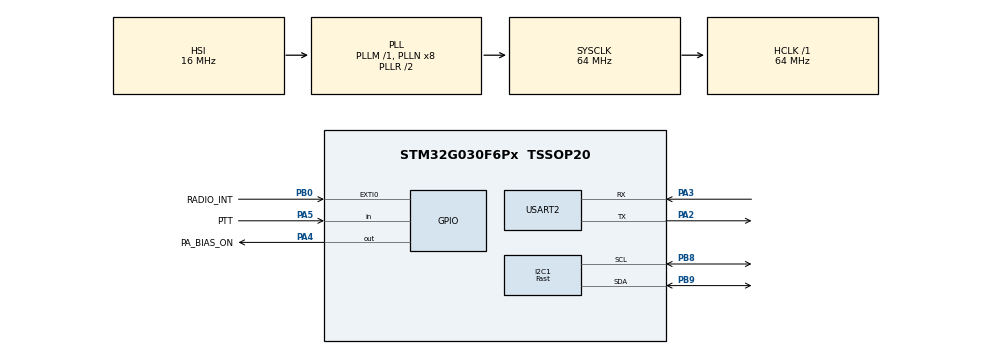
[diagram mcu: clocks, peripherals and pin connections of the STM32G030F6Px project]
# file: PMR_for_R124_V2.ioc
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Dma.I2C1_RX.1.Direction=DMA_PERIPH_TO_MEMORY
Dma.I2C1_RX.1.EventEnable=DISABLE
Dma.I2C1_RX.1.Instance=DMA1_Channel2
Dma.I2C1_RX.1.MemDataAlignment=DMA_MDATAALIGN_BYTE
Dma.I2C1_RX.1.MemInc=DMA_MINC_ENABLE
Dma.I2C1_RX.1.Mode=DMA_NORMAL
Dma.I2C1_RX.1.PeriphDataAlignment=DMA_PDATAALIGN_BYTE
Dma.I2C1_RX.1.PeriphInc=DMA_PINC_DISABLE
Dma.I2C1_RX.1.Polarity=HAL_DMAMUX_REQ_GEN_RISING
Dma.I2C1_RX.1.Priority=DMA_PRIORITY_LOW
Dma.I2C1_RX.1.RequestNumber=1
Dma.I2C1_RX.1.SignalID=NONE
Dma.I2C1_RX.1.SyncEnable=DISABLE
Dma.I2C1_RX.1.SyncPolarity=HAL_DMAMUX_SYNC_NO_EVENT
Dma.I2C1_RX.1.SyncRequestNumber=1
Dma.I2C1_RX.1.SyncSignalID=NONE
Dma.I2C1_TX.0.Direction=DMA_MEMORY_TO_PERIPH
Dma.I2C1_TX.0.EventEnable=DISABLE
Dma.I2C1_TX.0.Instance=DMA1_Channel1
Dma.I2C1_TX.0.MemDataAlignment=DMA_MDATAALIGN_BYTE
Dma.I2C1_TX.0.MemInc=DMA_MINC_ENABLE
Dma.I2C1_TX.0.Mode=DMA_NORMAL
Dma.I2C1_TX.0.PeriphDataAlignment=DMA_PDATAALIGN_BYTE
Dma.I2C1_TX.0.PeriphInc=DMA_PINC_DISABLE
Dma.I2C1_TX.0.Polarity=HAL_DMAMUX_REQ_GEN_RISING
Dma.I2C1_TX.0.Priority=DMA_PRIORITY_LOW
Dma.I2C1_TX.0.RequestNumber=1
Dma.I2C1_TX.0.SignalID=NONE
Dma.I2C1_TX.0.SyncEnable=DISABLE
Dma.I2C1_TX.0.SyncPolarity=HAL_DMAMUX_SYNC_NO_EVENT
Dma.I2C1_TX.0.SyncRequestNumber=1
Dma.I2C1_TX.0.SyncSignalID=NONE
Dma.Request0=I2C1_TX
Dma.Request1=I2C1_RX
Dma.Request2=USART2_TX
Dma.USART2_TX.2.Direction=DMA_MEMORY_TO_PERIPH
Dma.USART2_TX.2.EventEnable=DISABLE
Dma.USART2_TX.2.Instance=DMA1_Channel3
Dma.USART2_TX.2.MemDataAlignment=DMA_MDATAALIGN_BYTE
Dma.USART2_TX.2.MemInc=DMA_MINC_ENABLE
Dma.USART2_TX.2.Mode=DMA_NORMAL
Dma.USART2_TX.2.PeriphDataAlignment=DMA_PDATAALIGN_BYTE
Dma.USART2_TX.2.PeriphInc=DMA_PINC_DISABLE
Dma.USART2_TX.2.Polarity=HAL_DMAMUX_REQ_GEN_RISING
Dma.USART2_TX.2.Priority=DMA_PRIORITY_LOW
Dma.USART2_TX.2.RequestNumber=1
Dma.USART2_TX.2.SignalID=NONE
Dma.USART2_TX.2.SyncEnable=DISABLE
Dma.USART2_TX.2.SyncPolarity=HAL_DMAMUX_SYNC_NO_EVENT
Dma.USART2_TX.2.SyncRequestNumber=1
Dma.USART2_TX.2.SyncSignalID=NONE
I2C1.I2C_Speed_Mode=I2C_Fast
I2C1.Timing=0x00C12166
Mcu.Family=STM32G0
Mcu.Name=STM32G030F6Px
Mcu.Package=TSSOP20
NVIC.DMA1_Channel1_IRQn=true\:0\:0\:false\:false\:true\:false\:true\:true
NVIC.DMA1_Channel2_3_IRQn=true\:0\:0\:false\:false\:true\:false\:true\:true
NVIC.EXTI0_1_IRQn=true\:0\:0\:false\:false\:true\:true\:true\:true
NVIC.I2C1_IRQn=true\:0\:0\:false\:false\:true\:true\:true\:true
NVIC.USART2_IRQn=true\:0\:0\:false\:false\:true\:false\:true\:true
PA13.Mode=Serial_Wire
PA13.Signal=SYS_SWDIO
PA14-BOOT0.Mode=Serial_Wire
PA14-BOOT0.Signal=SYS_SWCLK
PA14-BOOT0__PA15.StandardMode=true
PA2.Mode=Asynchronous
PA2.Signal=USART2_TX
PA3.Mode=Asynchronous
PA3.Signal=USART2_RX
PA4.GPIO_Label=PA_BIAS_ON
PA4.Signal=GPIO_Output
PA5.GPIO_Label=PTT
PA5.Signal=GPIO_Input
PB0.GPIO_Label=RADIO_INT
PB0.Signal=GPXTI0
PB0__PB1__PB2__PA8.StandardMode=true
PB3__PB4__PB5__PB6.StandardMode=true
PB7__PB8.StandardMode=true
PB8.Mode=I2C
PB8.Signal=I2C1_SCL
PB9.Mode=I2C
PB9.Signal=I2C1_SDA
PC14-OSC32_IN\ (PC14)__PB9.StandardMode=true
ProjectManager.HeapSize=0x200
ProjectManager.StackSize=0x400
ProjectManager.TargetToolchain=STM32CubeIDE
RCC.ADCFreq_Value=64000000
RCC.AHBFreq_Value=64000000
RCC.CortexFreq_Value=64000000
RCC.EXTERNAL_CLOCK_VALUE=12288000
RCC.HCLKFreq_Value=64000000
RCC.HSE_VALUE=8000000
RCC.HSI_VALUE=16000000
RCC.LSE_VALUE=32768
RCC.SYSCLKFreq_VALUE=64000000
RCC.SYSCLKSource=RCC_SYSCLKSOURCE_PLLCLK
RCC.VCOOutputFreq_Value=128000000
USART2.VirtualMode-Asynchronous=VM_ASYNC
board=custom

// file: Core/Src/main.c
/* USER CODE BEGIN Header */
/**
  ******************************************************************************
  * @file           : main.c
  * @brief          : Main program body
  ******************************************************************************
  */
/* USER CODE END Header */
#include "main.h"

/* USER CODE BEGIN Includes */
#include "rda1846.h"
#include <stdio.h>
#include <string.h>
/* USER CODE END Includes */

I2C_HandleTypeDef hi2c1;
DMA_HandleTypeDef hdma_i2c1_tx;
DMA_HandleTypeDef hdma_i2c1_rx;

UART_HandleTypeDef huart2;
DMA_HandleTypeDef hdma_usart2_tx;

/* USER CODE BEGIN PV */
volatile uint8_t current_channel = 4; // Index 3 odpovídá PMR kanálu 4 (446.043750 MHz)
volatile uint8_t current_ctcss = 5;  // Index 25 odpovídá CTCSS tónu 156.7 Hz
volatile uint8_t is_tx = 0;           // Stavový příznak transceiveru (0 = RX, 1 = TX)

RDA1846_Reg30_t rda_settings = {0};
RDA1846_ctcss ctcss_settings = {0};
/* USER CODE END PV */

void SystemClock_Config(void);
static void MX_GPIO_Init(void);
static void MX_DMA_Init(void);
static void MX_I2C1_Init(void);
static void MX_USART2_UART_Init(void);
/* USER CODE BEGIN PFP */
void Debug_Print(const char *msg);
/* USER CODE END PFP */

/* USER CODE BEGIN 0 */
void Debug_Print(const char *msg) {
    HAL_UART_Transmit(&huart2, (uint8_t *)msg, strlen(msg), 100);
}
/* USER CODE END 0 */

int main(void)
{
  HAL_Init();
  SystemClock_Config();
  MX_GPIO_Init();
  MX_DMA_Init();
  MX_I2C1_Init();
  MX_USART2_UART_Init();

  /* USER CODE BEGIN 2 */
  char debug_msg[128];
  Debug_Print("\r\n=======================================\r\n");
  Debug_Print("--- PMR446 Transceiver Booting ---\r\n");
  Debug_Print("=======================================\r\n");

  rda_settings.bits.pdn_reg = 1;
  rda_settings.bits.channel_mode = 0;
  rda_settings.bits.sq_on = 1;
  rda_settings.bits.chip_cal_en = 1;    // Povolení kalibrace VCO
  rda_settings.bits.others = 1;         // Nastaví bit 14 na 1 (Režim 26 MHz)

  ctcss_settings.tx_CTCSS = RDA1846_CTCSS_INNER_CTCSS_EN;
  ctcss_settings.rx_CTCSS = RDA1846_CTCSS_INNER_CTCSS_EN;
  ctcss_settings.tone = CTCSS_Tones[current_ctcss];

  HAL_StatusTypeDef i2c_stat = RDA1846_WriteRegister(0x30, rda_settings.value);
  if (i2c_stat != HAL_OK) {
      Debug_Print("[ERROR] I2C komunikace s RDA1846 selhala!\r\n");
  } else {
      Debug_Print("[OK] I2C komunikace navazana.\r\n");
  }

  Debug_Print("[INFO] Nahravam tovarni inicializacni sekvenci (DSP/AGC/PLL)...\r\n");
  RDA1846_Init();

  RDA1846_SetReferenceClock(25000);

  uint32_t target_freq = PMR446_Frequencies[current_channel];
  snprintf(debug_msg, sizeof(debug_msg), "[INFO] Nastavuji frekvenci: %lu Hz (Kanal %d)\r\n", target_freq, current_channel + 1);
  Debug_Print(debug_msg);
  RDA1846_SetFrequency(target_freq);

  // Nastavení Squelch hystereze (Otevře při -113 dBm, Zavře při -116 dBm)
    RDA1846_SetSquelchThresholds(-113, -116);

  HAL_GPIO_WritePin(PA_BIAS_ON_GPIO_Port, PA_BIAS_ON_Pin, GPIO_PIN_RESET);
  RDA1846_SetRxMode(&rda_settings, &ctcss_settings);
  is_tx = 0;
  Debug_Print("[INFO] Inicializace dokoncena. System prechazi do RX rezimu.\r\n");

  /* USER CODE END 2 */

  /* Infinite loop */
  /* USER CODE BEGIN WHILE */

  static uint32_t last_debounce_time = 0;
  static uint32_t last_telemetry_time = 0;
  static GPIO_PinState last_ptt_state = GPIO_PIN_SET;
  static GPIO_PinState debounced_ptt_state = GPIO_PIN_SET;

  while (1)
  {
    /* USER CODE END WHILE */

    /* USER CODE BEGIN 3 */

    // --- 1. Vyhodnoceni PTT (Debounce) ---
    GPIO_PinState current_ptt_state = HAL_GPIO_ReadPin(PTT_GPIO_Port, PTT_Pin);

    if (current_ptt_state != last_ptt_state) {
        last_debounce_time = HAL_GetTick();
    }

    if ((HAL_GetTick() - last_debounce_time) > 20) {
        if (current_ptt_state != debounced_ptt_state) {
            debounced_ptt_state = current_ptt_state;

            if (debounced_ptt_state == GPIO_PIN_RESET && !is_tx) {
                Debug_Print("[ACTION] PTT stisknuto. Prepinam do TX...\r\n");
                HAL_GPIO_WritePin(PA_BIAS_ON_GPIO_Port, PA_BIAS_ON_Pin, GPIO_PIN_SET);
                HAL_Delay(10);
                RDA1846_SetTxMode(&rda_settings, &ctcss_settings);
                is_tx = 1;
                Debug_Print("[INFO] TX rezim aktivni.\r\n");
            }
            else if (debounced_ptt_state == GPIO_PIN_SET && is_tx) {
                Debug_Print("[ACTION] PTT uvolneno. Prepinam do RX...\r\n");
                RDA1846_SetRxMode(&rda_settings, &ctcss_settings);
                HAL_Delay(10);
                HAL_GPIO_WritePin(PA_BIAS_ON_GPIO_Port, PA_BIAS_ON_Pin, GPIO_PIN_RESET);
                is_tx = 0;
                Debug_Print("[INFO] RX rezim aktivni.\r\n");
            }
        }
    }
    last_ptt_state = current_ptt_state;

    // --- 2. Kontinualni telemetrie (RSSI a SQ stav) ---
    if (!is_tx && (HAL_GetTick() - last_telemetry_time) > 500) {
        last_telemetry_time = HAL_GetTick();

        uint16_t raw_rssi = RDA1846_ReadRSSI();
        uint16_t flags = RDA1846_ReadFlags();

        // Konverze surové hodnoty z registru 0x5F (bity 9:0) na dBm dle datasheetu
        int16_t rssi_dbm = (raw_rssi / 8) - 135;

        snprintf(debug_msg, sizeof(debug_msg), "[TELEMETRY] RSSI: %d dBm (raw: %u), Flags: 0x%04X\r\n", rssi_dbm, raw_rssi, flags);
        Debug_Print(debug_msg);

        if (flags & FLAG_SQUELCH_OPEN) {
            Debug_Print(" >>> SQUELCH OTEVREN (Nosna detekovana) <<<\r\n");
        }
        if (flags & FLAG_CTCSS_DETECTED) {
            Debug_Print(" >>> CTCSS TON DETEKOVÁN <<<\r\n");
        }
    }
  }
  /* USER CODE END 3 */
}

void SystemClock_Config(void)
{
  RCC_OscInitTypeDef RCC_OscInitStruct = {0};
  RCC_ClkInitTypeDef RCC_ClkInitStruct = {0};

  /** Configure the main internal regulator output voltage
  */
  HAL_PWREx_ControlVoltageScaling(PWR_REGULATOR_VOLTAGE_SCALE1);

  /** Initializes the RCC Oscillators according to the specified parameters
  * in the RCC_OscInitTypeDef structure.
  */
  RCC_OscInitStruct.OscillatorType = RCC_OSCILLATORTYPE_HSI;
  RCC_OscInitStruct.HSIState = RCC_HSI_ON;
  RCC_OscInitStruct.HSIDiv = RCC_HSI_DIV1;
  RCC_OscInitStruct.HSICalibrationValue = RCC_HSICALIBRATION_DEFAULT;
  RCC_OscInitStruct.PLL.PLLState = RCC_PLL_ON;
  RCC_OscInitStruct.PLL.PLLSource = RCC_PLLSOURCE_HSI;
  RCC_OscInitStruct.PLL.PLLM = RCC_PLLM_DIV1;
  RCC_OscInitStruct.PLL.PLLN = 8;
  RCC_OscInitStruct.PLL.PLLP = RCC_PLLP_DIV2;
  RCC_OscInitStruct.PLL.PLLR = RCC_PLLR_DIV2;
  if (HAL_RCC_OscConfig(&RCC_OscInitStruct) != HAL_OK)
  {
    Error_Handler();
  }

  /** Initializes the CPU, AHB and APB buses clocks
  */
  RCC_ClkInitStruct.ClockType = RCC_CLOCKTYPE_HCLK|RCC_CLOCKTYPE_SYSCLK
                              |RCC_CLOCKTYPE_PCLK1;
  RCC_ClkInitStruct.SYSCLKSource = RCC_SYSCLKSOURCE_PLLCLK;
  RCC_ClkInitStruct.AHBCLKDivider = RCC_SYSCLK_DIV1;
  RCC_ClkInitStruct.APB1CLKDivider = RCC_HCLK_DIV1;

  if (HAL_RCC_ClockConfig(&RCC_ClkInitStruct, FLASH_LATENCY_2) != HAL_OK)
  {
    Error_Handler();
  }
}

static void MX_I2C1_Init(void)
{

  hi2c1.Instance = I2C1;
  hi2c1.Init.Timing = 0x00C12166;
  hi2c1.Init.OwnAddress1 = 0;
  hi2c1.Init.AddressingMode = I2C_ADDRESSINGMODE_7BIT;
  hi2c1.Init.DualAddressMode = I2C_DUALADDRESS_DISABLE;
  hi2c1.Init.OwnAddress2 = 0;
  hi2c1.Init.OwnAddress2Masks = I2C_OA2_NOMASK;
  hi2c1.Init.GeneralCallMode = I2C_GENERALCALL_DISABLE;
  hi2c1.Init.NoStretchMode = I2C_NOSTRETCH_DISABLE;
  if (HAL_I2C_Init(&hi2c1) != HAL_OK)
  {
    Error_Handler();
  }

  /** Configure Analogue filter
  */
  if (HAL_I2CEx_ConfigAnalogFilter(&hi2c1, I2C_ANALOGFILTER_ENABLE) != HAL_OK)
  {
    Error_Handler();
  }

  /** Configure Digital filter
  */
  if (HAL_I2CEx_ConfigDigitalFilter(&hi2c1, 0) != HAL_OK)
  {
    Error_Handler();
  }

}

static void MX_USART2_UART_Init(void)
{

  huart2.Instance = USART2;
  huart2.Init.BaudRate = 115200;
  huart2.Init.WordLength = UART_WORDLENGTH_8B;
  huart2.Init.StopBits = UART_STOPBITS_1;
  huart2.Init.Parity = UART_PARITY_NONE;
  huart2.Init.Mode = UART_MODE_TX_RX;
  huart2.Init.HwFlowCtl = UART_HWCONTROL_NONE;
  huart2.Init.OverSampling = UART_OVERSAMPLING_16;
  huart2.Init.OneBitSampling = UART_ONE_BIT_SAMPLE_DISABLE;
  huart2.Init.ClockPrescaler = UART_PRESCALER_DIV1;
  huart2.AdvancedInit.AdvFeatureInit = UART_ADVFEATURE_NO_INIT;
  if (HAL_UART_Init(&huart2) != HAL_OK)
  {
    Error_Handler();
  }

}

static void MX_DMA_Init(void)
{

  /* DMA controller clock enable */
  __HAL_RCC_DMA1_CLK_ENABLE();

  /* DMA interrupt init */
  /* DMA1_Channel1_IRQn interrupt configuration */
  HAL_NVIC_SetPriority(DMA1_Channel1_IRQn, 0, 0);
  HAL_NVIC_EnableIRQ(DMA1_Channel1_IRQn);
  /* DMA1_Channel2_3_IRQn interrupt configuration */
  HAL_NVIC_SetPriority(DMA1_Channel2_3_IRQn, 0, 0);
  HAL_NVIC_EnableIRQ(DMA1_Channel2_3_IRQn);

}

static void MX_GPIO_Init(void)
{
  GPIO_InitTypeDef GPIO_InitStruct = {0};

  /* GPIO Ports Clock Enable */
  __HAL_RCC_GPIOB_CLK_ENABLE();
  __HAL_RCC_GPIOA_CLK_ENABLE();

  /*Configure GPIO pin Output Level */
  HAL_GPIO_WritePin(PA_BIAS_ON_GPIO_Port, PA_BIAS_ON_Pin, GPIO_PIN_RESET);

  /*Configure GPIO pin : PA_BIAS_ON_Pin */
  GPIO_InitStruct.Pin = PA_BIAS_ON_Pin;
  GPIO_InitStruct.Mode = GPIO_MODE_OUTPUT_PP;
  GPIO_InitStruct.Pull = GPIO_NOPULL;
  GPIO_InitStruct.Speed = GPIO_SPEED_FREQ_LOW;
  HAL_GPIO_Init(PA_BIAS_ON_GPIO_Port, &GPIO_InitStruct);

  /*Configure GPIO pin : PTT_Pin */
  GPIO_InitStruct.Pin = PTT_Pin;
  GPIO_InitStruct.Mode = GPIO_MODE_INPUT;
  GPIO_InitStruct.Pull = GPIO_NOPULL;
  HAL_GPIO_Init(PTT_GPIO_Port, &GPIO_InitStruct);

  /*Configure GPIO pin : RADIO_INT_Pin */
  GPIO_InitStruct.Pin = RADIO_INT_Pin;
  GPIO_InitStruct.Mode = GPIO_MODE_IT_RISING;
  GPIO_InitStruct.Pull = GPIO_NOPULL;
  HAL_GPIO_Init(RADIO_INT_GPIO_Port, &GPIO_InitStruct);

  /* EXTI interrupt init*/
  HAL_NVIC_SetPriority(EXTI0_1_IRQn, 0, 0);
  HAL_NVIC_EnableIRQ(EXTI0_1_IRQn);

}

void Error_Handler(void)
{
  __disable_irq();
  while (1)
  {
  }
}
